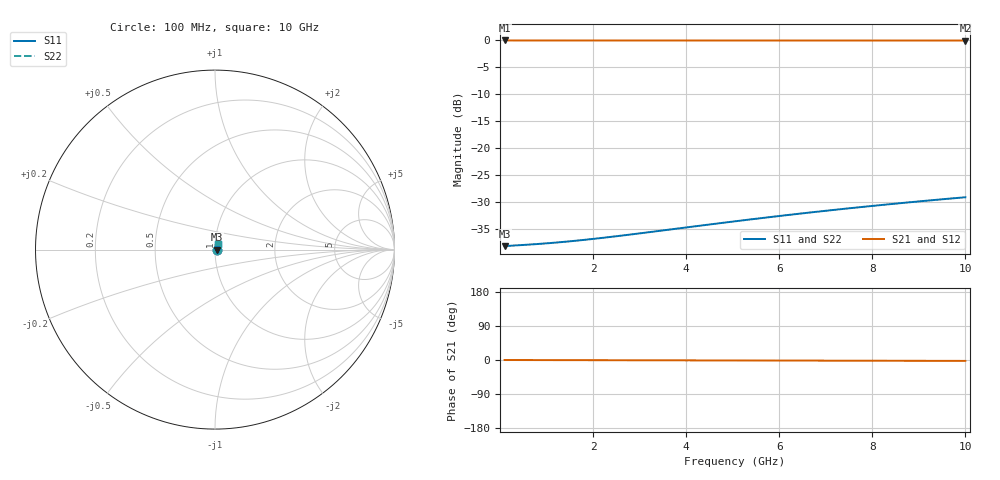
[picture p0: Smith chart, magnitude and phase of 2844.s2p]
# Hz S RI R 50.00
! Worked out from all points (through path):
!   100 points, 100 MHz to 10 GHz, reference 50 ohm
!   highest |S21| = -0.11 dB at 100 MHz (marker M1); lowest = -0.1 dB at 10 GHz (marker M2)
!   lowest |S11| = -38.2 dB at 100 MHz (marker M3), VSWR 1.02, Z = 51.2 + j0.0327 ohm
!   |S11| at or under -10 dB: start of sweep to end of sweep
!   |S22| runs from -38.2 to -29.1 dB; largest |S21 - S12| = 1e-14
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1e8  0.0123 0.000319  0.9877 -0.000414  0.9877 -0.000414  0.0123 0.000319
2e8  0.0124 0.000637  0.9876 -0.000828  0.9876 -0.000828  0.0124 0.000637
7e8  0.0126 0.00223  0.9874 -0.0029  0.9874 -0.0029  0.0126 0.00223
1e9  0.0127 0.00318  0.9873 -0.00414  0.9873 -0.00414  0.0127 0.00318
1.2e9  0.0127 0.00382  0.9873 -0.00497  0.9873 -0.00497  0.0127 0.00382
1.4e9  0.0128 0.00446  0.9872 -0.00579  0.9872 -0.00579  0.0128 0.00446
1.8e9  0.0129 0.00573  0.9871 -0.00745  0.9871 -0.00745  0.0129 0.00573
2.1e9  0.0129 0.00668  0.9871 -0.00869  0.9871 -0.00869  0.0129 0.00668
2.5e9  0.013 0.00796  0.987 -0.0103  0.987 -0.0103  0.013 0.00796
2.9e9  0.0131 0.00923  0.9869 -0.012  0.9869 -0.012  0.0131 0.00923
3.4e9  0.0131 0.0108  0.9869 -0.0141  0.9869 -0.0141  0.0131 0.0108
4.4e9  0.0133 0.014  0.9867 -0.0182  0.9867 -0.0182  0.0133 0.014
5.1e9  0.0134 0.0162  0.9865 -0.0211  0.9865 -0.0211  0.0134 0.0162
5.9e9  0.0136 0.0188  0.9864 -0.0244  0.9864 -0.0244  0.0136 0.0188
6.3e9  0.0137 0.02  0.9863 -0.026  0.9863 -0.026  0.0137 0.02
6.7e9  0.0138 0.0213  0.9862 -0.0277  0.9862 -0.0277  0.0138 0.0213
7.1e9  0.0138 0.0226  0.9861 -0.0294  0.9861 -0.0294  0.0138 0.0226
7.5e9  0.0139 0.0238  0.986 -0.031  0.986 -0.031  0.0139 0.0238
7.9e9  0.014 0.0251  0.9859 -0.0327  0.9859 -0.0327  0.014 0.0251
8.4e9  0.0142 0.0267  0.9858 -0.0347  0.9858 -0.0347  0.0142 0.0267
9.2e9  0.0144 0.0292  0.9856 -0.038  0.9856 -0.038  0.0144 0.0292
1e10  0.0146 0.0318  0.9853 -0.0413  0.9853 -0.0413  0.0146 0.0318
